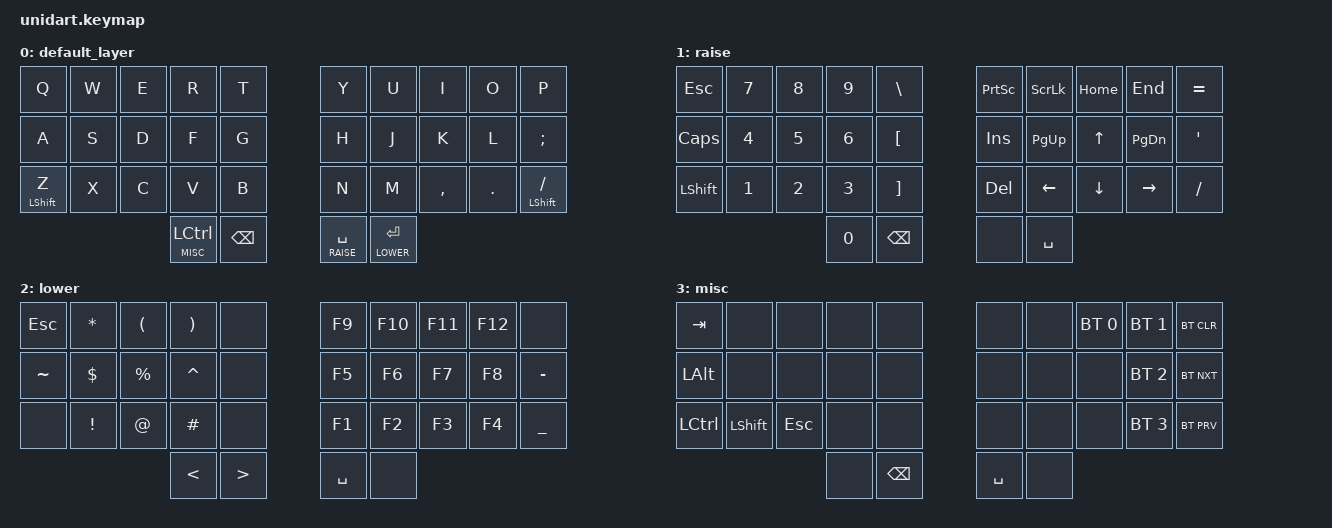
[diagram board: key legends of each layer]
 /*
 * Copyright (c) 2021 The ZMK Contributors
 *
 * SPDX-License-Identifier: MIT
 */

#include <behaviors.dtsi>
#include <dt-bindings/zmk/keys.h>
#include <dt-bindings/zmk/bt.h>
#include <dt-bindings/zmk/outputs.h>

#define DEFAULT 0
#define RAISE 1
#define LOWER 2
#define MISC 3

&lt { quick_tap_ms = <100>; };

&mt { tapping-term-ms = <400>; };

/ {
        keymap {
                compatible = "zmk,keymap";
                default_layer {
                        bindings = <
    &kp Q       &kp W        &kp E          &kp R        &kp T          &kp Y      &kp U         &kp I           &kp O       &kp P
    &kp A       &kp S        &kp D          &kp F        &kp G          &kp H      &kp J         &kp K           &kp L       &kp SEMI
    &mt LSHIFT Z       &kp X        &kp C          &kp V        &kp B          &kp N      &kp M         &kp COMMA       &kp DOT     &mt LSHIFT	FSLH
                                            &lt MISC LCTRL   &kp BSPC      &lt RAISE SPACE  &lt LOWER RET
                        >;
                };

                raise {
                        bindings = <
    &kp ESC     &kp N7      &kp N8       &kp N9      &kp BSLH        &kp PSCRN  &kp SLCK    &kp HOME   &kp END     &kp EQUAL
    &kp CAPS    &kp N4      &kp N5       &kp N6      &kp LBKT        &kp INS    &kp PG_UP   &kp UP     &kp PG_DN   &kp SQT
    &kp LSHIFT  &kp N1      &kp N2       &kp N3      &kp RBKT        &kp DEL    &kp LEFT    &kp DOWN   &kp RIGHT   &kp SLASH
                                         &kp N0   &kp BSPC           &none     &kp SPACE
                        >;
				};
				
				lower {
                        bindings = <
    &kp ESC     &kp STAR      &kp LPAR     &kp RPAR   &none	      &kp F9     &kp F10  &kp F11  &kp F12  &none
    &kp TILDE   &kp DLLR      &kp PERCENT  &kp CARET  &none       &kp F5     &kp F6   &kp F7   &kp F8   &kp MINUS
    &none       &kp EXCL      &kp AT       &kp HASH   &none       &kp F1     &kp F2   &kp F3   &kp F4   &kp UNDER
                                         &kp LT   &kp GT           &kp SPACE     &none 
                        >;
						
                };
				
				misc {
                        bindings = <
    &kp TAB    &none         &none        &none  &none	     &none     &none   &bt BT_SEL 0   &bt BT_SEL 1   &bt BT_CLR
    &kp LALT   &none         &none        &none  &none       &none     &none   &none         &bt BT_SEL 2   &bt BT_NXT
    &kp LCTRL  &kp LSHIFT    &kp ESC      &none  &none       &none     &none   &none         &bt BT_SEL 3   &bt BT_PRV
                                         &none   &kp BSPC           &kp SPACE  &none										 
                        >;
						
                };
        };    
};

